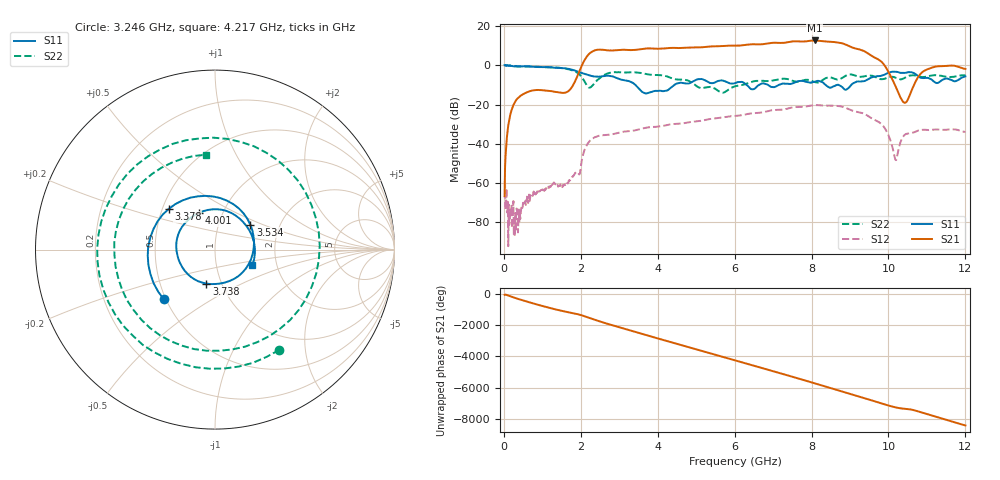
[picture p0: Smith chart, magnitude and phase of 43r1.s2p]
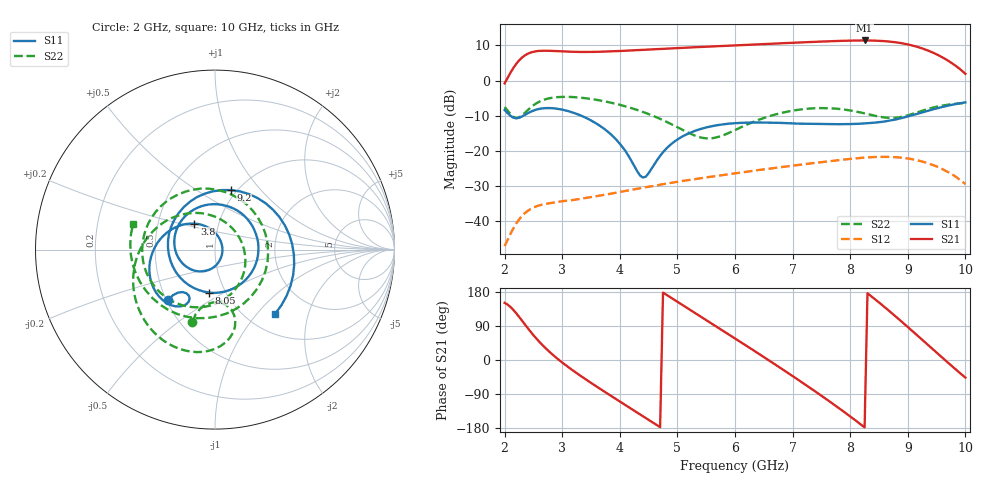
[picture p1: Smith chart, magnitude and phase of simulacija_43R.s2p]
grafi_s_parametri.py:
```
# narise grafe na podlagi S parametrov iz datoteke .S2P HP - VNA utility
# pip install scikit-rf

from skrf import Network
import matplotlib.pyplot as plt
from matplotlib import style


# MERITVE
ring_slot = Network('43r1.s2p')
ring_slot. frequency.unit = 'ghz'
ring_slot.plot_s_db(m=0,n=0, label = 'S11')
ring_slot.plot_s_db(m=1,n=1, label = 'S22')
ring_slot.plot_s_db(m=1,n=0, label = 'S21')

# SIMULACIJA
ring_slot = Network('simulacija_43R.s2p')
ring_slot. frequency.unit = 'ghz'
ring_slot.plot_s_db(m=1,n=0, ls='--', label = 'S21 - sim')
#ring_slot.plot_s_db(m=0,n=0, label = 'S11')

plt.title('S parametri')
#plt.axis([400000000,2000000000,-3,0])
plt.axis([2000000000,10000000000,-30,20])
plt.legend(loc='lower right')
plt.grid(visible=True, axis='both', which='both')
#plt.minorticks_on()
plt.xlabel("Frekvenca [GHz]")
plt.ylabel("Amplituda [dB]")
plt.show()
```
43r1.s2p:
#  HZ  S  DB  R  50.00
! Rohde & Schwarz ZVA67 4Ports - Version 3.30 - 1305.7002k04 SN: 101038
! Date: 2022-09-30 01:22:13
! Measurements: S11 S21 S12 S22
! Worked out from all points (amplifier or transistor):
!   1000 points, 20 MHz to 12 GHz, reference 50 ohm
!   highest |S21| = 12.7 dB at 8.079 GHz (marker M1)
!   |S21| within 3 dB of that: 5.477 GHz to 8.988 GHz (3.512 GHz wide, 48.6 % of centre)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
!   unconditionally stable (mu >= 1): 43.97 MHz to 55.98 MHz; 94.06 MHz to 7.831 GHz; 8.477 GHz to end of sweep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
!   at 2.011 GHz: K = 77.94, MAG = 2.9 dB, |S12| = -50.4 dB
!   at 6.016 GHz: K = 2.48, MAG = 11.1 dB, |S12| = -25.8 dB
!   at 12 GHz: K = 15.68, MAG = 1.1 dB, |S12| = -34.0 dB
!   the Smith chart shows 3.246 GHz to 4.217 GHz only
!   S11 on the Smith chart (normalised r, x): 3.246 GHz: 0.49, -0.32; 3.378 GHz: 0.54, +0.28; 3.534 GHz: 1.42, +0.42; 3.738 GHz: 0.85, -0.33; 4.001 GHz: 0.78, +0.33; 4.217 GHz: 1.49, -0.27
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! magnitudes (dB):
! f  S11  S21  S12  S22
! 20 MHz  0.1  -66.8  -59.1  0.0
! 379.8 MHz  -0.6  -16.4  -79.6  -0.5
! 3.246 GHz  -8.0  7.8  -33.6  -3.6
! 3.378 GHz  -9.3  7.8  -33.3  -3.6
! 3.534 GHz  -12.3  8.2  -32.6  -3.8
! 3.738 GHz  -14.2  8.6  -31.7  -4.6
! 4.001 GHz  -13.0  8.5  -31.3  -5.0
! 4.217 GHz  -13.0  8.7  -30.6  -5.5
! 6.016 GHz  -9.1  10.0  -25.8  -10.7
! 8.079 GHz  -8.4  12.7  -20.3  -8.5
! 12 GHz  -5.7  -1.8  -34.0  -5.1
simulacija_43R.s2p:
! AWR Design Environment (9138) Sun Nov 27 12:25:02 2022
! Document = 'LNA'
! nPorts: 2, nXvals: 161
# MHz S DB R 50
!Freq DBS11 AngS11 DBS21 AngS21 DBS12 AngS12 DBS22 AngS22
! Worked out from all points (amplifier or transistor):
!   161 points, 2 GHz to 10 GHz, reference 50 ohm
!   highest |S21| = 11.4 dB at 8.25 GHz (marker M1)
!   |S21| within 3 dB of that: 4 GHz to 9.37 GHz (5.37 GHz wide, 80.3 % of centre)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
!   unconditionally stable (mu >= 1): start of sweep to end of sweep
!   at 3.3 GHz: K = 5.86, MAG = 10.3 dB, |S12| = -33.7 dB
!   at 6 GHz: K = 3.02, MAG = 10.5 dB, |S12| = -26.4 dB
!   at 10 GHz: K = 7.13, MAG = 4.2 dB, |S12| = -29.5 dB
!   S11 on the Smith chart (normalised r, x): 2 GHz: 0.51, -0.34; 3.8 GHz: 0.76, +0.23; 8.05 GHz: 0.84, -0.43; 9.2 GHz: 0.94, +0.70; 10 GHz: 1.33, -1.26
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2000  -8.37 -133.0  -0.80 150.9  -47.12 73.4  -7.50 -107.4
2450  -8.88 -119.5  7.97 74.8  -36.57 0.7  -7.67 -74.1
2900  -7.98 -152.7  8.39 5.5  -34.60 -65.6  -4.73 -100.2
3800  -14.65 128.5  8.29 -90.0  -32.33 -155.2  -6.12 -157.2
4850  -18.69 -105.6  9.14 168.2  -29.22 109.5  -12.04 126.2
6000  -12.12 137.8  10.01 56.9  -26.40 5.0  -14.05 -33.6
6850  -12.08 49.0  10.65 -27.2  -24.53 -73.8  -9.04 -116.6
8050  -12.34 -97.6  11.39 -154.6  -22.21 166.2  -8.65 123.6
8250  -12.19 -126.7  11.42 -177.8  -21.92 144.1  -9.33 96.1
9200  -9.29 75.1  9.43 60.2  -22.80 27.3  -8.84 -79.4
10000  -6.19 -46.9  1.92 -46.5  -29.47 -75.0  -6.41 162.9
